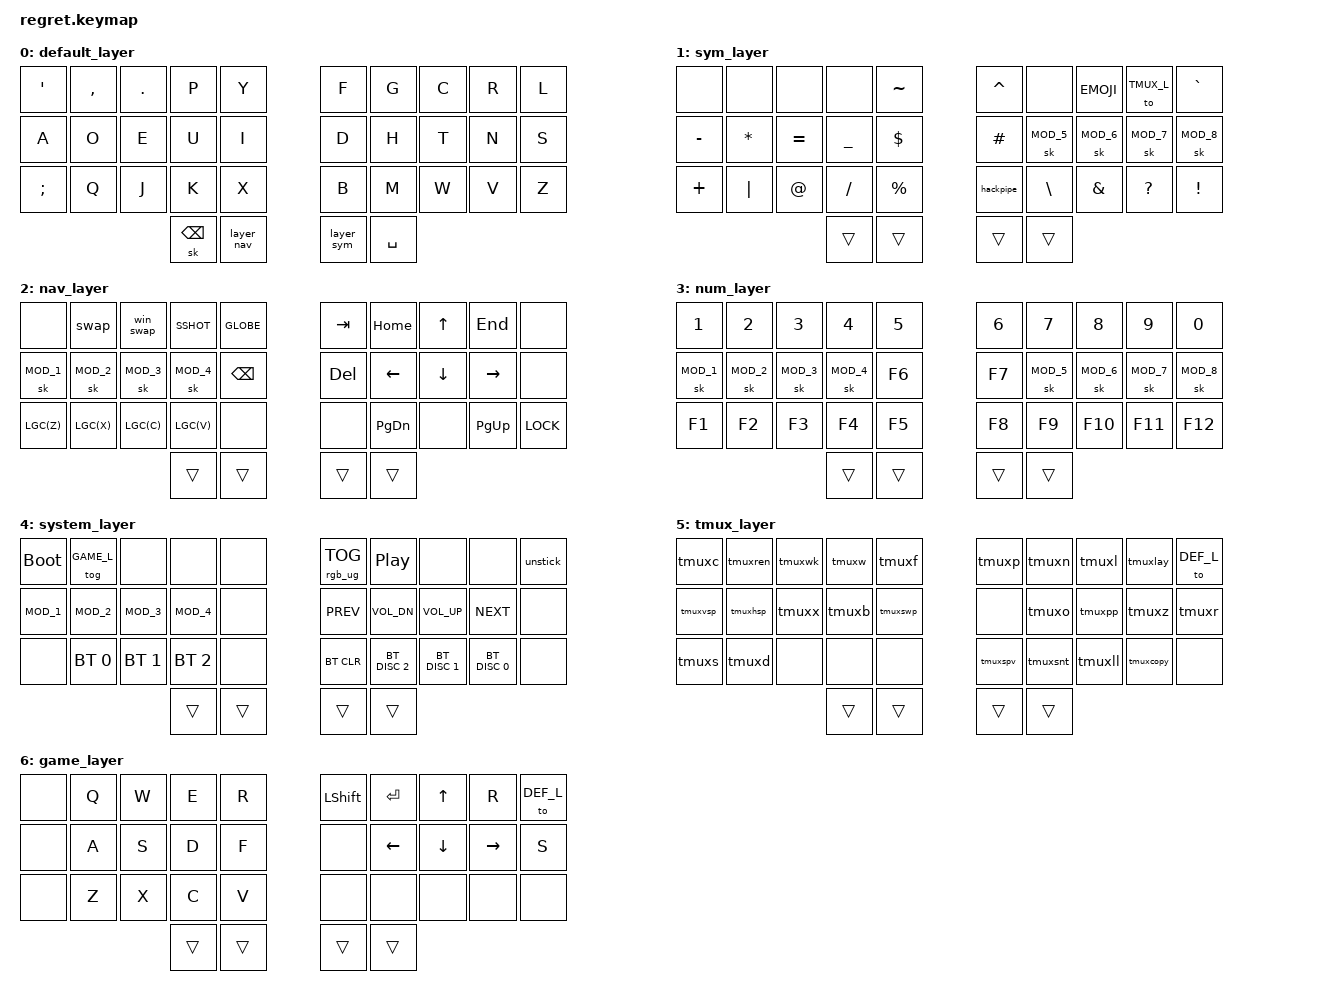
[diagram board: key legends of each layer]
// vim: set ts=4 sw=4 ft=devicetree:
// Re-gret keymap - platform-specific definitions

#ifdef CONFIG_SHIELD_REGRET_MAC
#include "regret-mac.keymap"
#elif CONFIG_SHIELD_REGRET_WINDOWS
#include "regret-windows.keymap"
#else
// Default to Mac if no platform specified
#include "regret-mac.keymap"
#endif

#include <behaviors.dtsi>
#include <dt-bindings/zmk/keys.h>
#include <dt-bindings/zmk/rgb.h>
#include <dt-bindings/zmk/bt.h>

#define KEYS_L 0 1 2 3 4 10 11 12 13 14 20 21 22 23 24
#define KEYS_R 5 6 7 8 9 15 16 17 18 19 25 26 27 28 29
#define KEYS_T 30 31  32 33

// Layer defines
#define DEF_L 0
#define SYM_L 1
#define NAV_L 2
#define NUM_L 3
#define SYS_L 4
#define TMUX_L 5
#define GAME_L 6

#define NON_SYS_LAYERS DEF_L SYM_L NAV_L NUM_L GAME_L TMUX_L

// Tmux prefix key - change this if you change your tmux prefix
#ifndef TMUX_PREFIX
#define TMUX_PREFIX GRAVE
#endif

// How long a key must be pressed to trigger Hold behavior
#define HRM_TERM 280
// If you press a tapped hold-tap again within quick-tap-ms milliseconds of the
// first press, it will always trigger the tap behavior
#define HRM_QUICK_TAP 175
// This effectively disables the hold-tap when typing quickly. As a rule of
// thumb, you want to set it to at least 10500/x where x is your (relaxed) WPM
#define HRM_IDLE (10500 / 50)
#define COMBO_IDLE HRM_IDLE

#define STICKY_KEY_TIMEOUT 1000

#define RED_H 340
#define RED_S 82
#define YELLOW_H 70
#define YELLOW_S 100
#define GREEN_H 160
#define GREEN_S 100
#define VIOLET_H 250
#define VIOLET_S 100

// Not-so-sticky key, see nk behavior def below
#define SK(KEY) &nk KEY KEY

&sk {// sticky-key config
	release-after-ms = <STICKY_KEY_TIMEOUT>;
	quick-release;
};



/ {
	behaviors {
		td_boot: double_tap_bootloader {
			compatible = "zmk,behavior-tap-dance";
			#binding-cells = <0>;
			tapping-term-ms = <200>;
			bindings = <&none>, <&bootloader>;
		};
		
		// alt tab equivalent
		swap: swapper {
			compatible = "zmk,behavior-tri-state";
			#binding-cells = <0>;
			bindings = <&kt LGorA>, <&kp TAB>, <&kt LGorA>;
			// 0 is Q, 32 is shift
			ignored-key-positions = <0 32>;
		};
		
		// swap windows between same app
		win_swap: win_swapper {
			compatible = "zmk,behavior-tri-state";
			#binding-cells = <0>;
			bindings = <&kt LGorA>, <&kp GRAVE>, <&kt LGorA>;
			// 0 is Q, 32 is shift
			ignored-key-positions = <0 32>;
		};
	};
	
	macros {
		layer_sym: layer_sym {
			label = "sym layer color";
			compatible = "zmk,behavior-macro";
			#binding-cells = <0>;
			wait-ms = <0>;
			tap-ms = <0>;
			bindings = <&macro_press &mo SYM_L>
			, <&macro_tap &rgb_ug RGB_COLOR_HSB(RED_H, 50, 100)>
			, <&macro_pause_for_release>
			, <&macro_release &mo SYM_L>
			, <&macro_tap &rgb_ug RGB_COLOR_HSB(GREEN_H, GREEN_S, 50)>
			;
		};
		
		layer_nav: layer_nav {
			label = "nav layer color";
			compatible = "zmk,behavior-macro";
			#binding-cells = <0>;
			wait-ms = <0>;
			tap-ms = <0>;
			bindings = <&macro_press &mo NAV_L>
			, <&macro_tap &rgb_ug RGB_COLOR_HSB(YELLOW_H, 25, 100)>
			, <&macro_pause_for_release>
			, <&macro_release &mo NAV_L>
			, <&macro_tap &rgb_ug RGB_COLOR_HSB(GREEN_H, GREEN_S, 50)>
			;
		};

		layer_tmux: layer_tmux {
			label = "tmux layer color";
			compatible = "zmk,behavior-macro";
			#binding-cells = <0>;
			wait-ms = <0>;
			tap-ms = <0>;
			bindings = <&macro_press &mo TMUX_L>
			, <&macro_tap &rgb_ug RGB_COLOR_HSB(180, 100, 100)>
			, <&macro_pause_for_release>
			, <&macro_release &mo TMUX_L>
			, <&macro_tap &rgb_ug RGB_COLOR_HSB(GREEN_H, GREEN_S, 50)>
			;
		};
		
		unstick: unstick {
			label = "ZM_unstick";
			compatible = "zmk,behavior-macro";
			#binding-cells = <0>;
			bindings = <&kp LSHIFT &kp RSHIFT &kp LCTRL &kp RCTRL &kp LALT &kp RALT &kp LGUI &kp RGUI>;
		};
		
		glo: glo {
			compatible = "zmk,behavior-macro-one-param";
			label = "globe pseudo mod func";
			#binding-cells = <1>;
			bindings = <&macro_press &kp GLOBE>
			, <&macro_param_1to1>
			, <&macro_tap &kp MACRO_PLACEHOLDER>
			, <&macro_release &kp GLOBE>
			;
		};
		
		// |>
		ZMK_MACRO(hackpipe, bindings = <&kp PIPE &kp GT &kp SPACE>;)

		// Tmux macros - send prefix + command (prefix defined by TMUX_PREFIX)
		ZMK_MACRO(tmux1,  bindings = <&kp TMUX_PREFIX &kp N1>;)
		ZMK_MACRO(tmux2,  bindings = <&kp TMUX_PREFIX &kp N2>;)
		ZMK_MACRO(tmux3,  bindings = <&kp TMUX_PREFIX &kp N3>;)
		ZMK_MACRO(tmux4,  bindings = <&kp TMUX_PREFIX &kp N4>;)
		ZMK_MACRO(tmux5,  bindings = <&kp TMUX_PREFIX &kp N5>;)
		ZMK_MACRO(tmux6,  bindings = <&kp TMUX_PREFIX &kp N6>;)
		ZMK_MACRO(tmux7,  bindings = <&kp TMUX_PREFIX &kp N7>;)
		ZMK_MACRO(tmux8,  bindings = <&kp TMUX_PREFIX &kp N8>;)
		ZMK_MACRO(tmux9,  bindings = <&kp TMUX_PREFIX &kp N9>;)
		ZMK_MACRO(tmux0,  bindings = <&kp TMUX_PREFIX &kp N0>;)
		ZMK_MACRO(tmuxc,  bindings = <&kp TMUX_PREFIX &kp C>;)       // new window
		ZMK_MACRO(tmuxn,  bindings = <&kp TMUX_PREFIX &kp N>;)       // next window
		ZMK_MACRO(tmuxp,  bindings = <&kp TMUX_PREFIX &kp P>;)       // prev window
		ZMK_MACRO(tmuxd,  bindings = <&kp TMUX_PREFIX &kp D>;)       // detach
		ZMK_MACRO(tmuxx,  bindings = <&kp TMUX_PREFIX &kp X>;)       // close pane
		ZMK_MACRO(tmuxz,  bindings = <&kp TMUX_PREFIX &kp Z>;)       // zoom pane
		ZMK_MACRO(tmuxo,  bindings = <&kp TMUX_PREFIX &kp O>;)       // cycle panes
		ZMK_MACRO(tmuxcopy, bindings = <&kp TMUX_PREFIX &kp LBKT>;) // copy mode
		ZMK_MACRO(tmuxlay, bindings = <&kp TMUX_PREFIX &kp SPACE>;)  // layout cycle
		ZMK_MACRO(tmuxh,  bindings = <&kp TMUX_PREFIX &kp H>;)       // pane left
		ZMK_MACRO(tmuxj,  bindings = <&kp TMUX_PREFIX &kp J>;)       // pane down
		ZMK_MACRO(tmuxk,  bindings = <&kp TMUX_PREFIX &kp K>;)       // pane up
		ZMK_MACRO(tmuxl,  bindings = <&kp TMUX_PREFIX &kp L>;)       // pane right / last window
		ZMK_MACRO(tmuxvsp, bindings = <&kp TMUX_PREFIX &kp PRCNT>;)  // split horizontal (side-by-side)
		ZMK_MACRO(tmuxhsp, bindings = <&kp TMUX_PREFIX &kp DQT>;)    // split vertical (top-bottom)
		ZMK_MACRO(tmuxb,  bindings = <&kp TMUX_PREFIX &kp B>;)       // break pane to new window
		ZMK_MACRO(tmuxr,  bindings = <&kp TMUX_PREFIX &kp R>;)       // resize mode
		ZMK_MACRO(tmuxren, bindings = <&kp TMUX_PREFIX &kp COMMA>;)  // rename window
		ZMK_MACRO(tmuxs,  bindings = <&kp TMUX_PREFIX &kp S>;)       // choose session (interactive)
		ZMK_MACRO(tmuxw,  bindings = <&kp TMUX_PREFIX &kp W>;)       // choose window (interactive)
		ZMK_MACRO(tmuxf,  bindings = <&kp TMUX_PREFIX &kp F>;)       // find window by name
		ZMK_MACRO(tmuxswp, bindings = <&kp TMUX_PREFIX &kp LS(O)>;)  // swap pane up
		ZMK_MACRO(tmuxwk,  bindings = <&kp TMUX_PREFIX &kp AMPS>;)  // kill window (&)
		ZMK_MACRO(tmuxpp,  bindings = <&kp TMUX_PREFIX &kp SEMI>;)  // prev pane (;)
		ZMK_MACRO(tmuxspv, bindings = <&kp TMUX_PREFIX &kp LPAR>;)  // prev session (()
		ZMK_MACRO(tmuxsnt, bindings = <&kp TMUX_PREFIX &kp RPAR>;)  // next session ())
		ZMK_MACRO(tmuxll,  bindings = <&kp TMUX_PREFIX &kp LS(L)>;) // last session (L)
	};
	
	combos {
		compatible = "zmk,combos";
		
	cw   { key-positions = <0 9>; bindings = <&caps_word>; layers = <DEF_L>; timeout-ms = <100>; };
		
	vlbkt { key-positions = <1 11>; bindings = <&kp LBKT>; layers = <NON_SYS_LAYERS>; require-prior-idle-ms = <COMBO_IDLE>; };
	vlbrc { key-positions = <2 12>; bindings = <&kp LBRC>; layers = <NON_SYS_LAYERS>; require-prior-idle-ms = <COMBO_IDLE>; };
	vlpar { key-positions = <3 13>; bindings = <&kp LPAR>; layers = <NON_SYS_LAYERS>; require-prior-idle-ms = <COMBO_IDLE>; };
	vrpar { key-positions = <6 16>; bindings = <&kp RPAR>; layers = <NON_SYS_LAYERS>; require-prior-idle-ms = <COMBO_IDLE>; };
	vrbrc { key-positions = <7 17>; bindings = <&kp RBRC>; layers = <NON_SYS_LAYERS>; require-prior-idle-ms = <COMBO_IDLE>; };
	vrbkt { key-positions = <8 18>; bindings = <&kp RBKT>; layers = <NON_SYS_LAYERS>; require-prior-idle-ms = <COMBO_IDLE>; };
		
	lshftc { key-positions = <2 3>; bindings = <&sk LSHFT>; layers = <NON_SYS_LAYERS>; require-prior-idle-ms = <COMBO_IDLE>; };
	rshftc { key-positions = <6 7>; bindings = <&sk RSHFT>; layers = <NON_SYS_LAYERS>; require-prior-idle-ms = <COMBO_IDLE>; };
		
	caps { key-positions = <20 29>; bindings = <&kp CAPSLOCK>; layers = <DEF_L>; timeout-ms = <100>; };
		
	esc  { key-positions = <11 12 13>; bindings = <&kp ESC>; layers = <DEF_L>; };
	ret  { key-positions = <16 17 18>; bindings = <&kp RET>; layers = <DEF_L>; };
		
	sall { key-positions = <21 22>; bindings = <&kp LGC(A)>; layers = <NAV_L>; };
		
		/* Activate tmux layer on left thumb chord */
		tmux { key-positions = <30 31>; bindings = <&layer_tmux>; require-prior-idle-ms = <COMBO_IDLE>; };

		/* Activate system layer on inner thumb press */
		sys {
			key-positions = <30 33>;
			bindings = <&mo SYS_L>;
			require-prior-idle-ms = <COMBO_IDLE>;
		};
	};
	
	conditional_layers {
		compatible = "zmk,conditional-layers";
		tri_layer {
			if-layers = <SYM_L NAV_L>;
			then-layer = <NUM_L>;
		};
	};
	
	keymap {
		compatible = "zmk,keymap";
		
		default_layer {
			bindings = <
			&kp SQT   &kp COMMA &kp DOT  &kp P    &kp Y   &kp F   &kp G   &kp C   &kp R   &kp L
			&kp A     &kp O     &kp E    &kp U    &kp I   &kp D   &kp H   &kp T   &kp N   &kp S
			&kp SEMI  &kp Q     &kp J    &kp K    &kp X   &kp B   &kp M   &kp W   &kp V   &kp Z
			&sk BSPC  &layer_nav &layer_sym &kp SPACE
			>;
		};
		
		// R inner held
		sym_layer {
			bindings = <
			&none     &none     &none     &none     &kp TILDE &kp CARET &none     &kp EMOJI &to TMUX_L &kp GRAVE
			&kp MINUS &kp STAR  &kp EQUAL &kp UNDER &kp DLLR  &kp HASH  &sk MOD_5 &sk MOD_6 &sk MOD_7 &sk MOD_8
			&kp PLUS  &kp PIPE  &kp AT    &kp FSLH  &kp PRCNT &hackpipe &kp BSLH  &kp AMPS  &kp QMARK &kp EXCL

			// default layer
			&trans    &trans    &trans    &trans
			>;
		};
		
		// L inner held
		nav_layer {
			bindings = <
			&none      &swap     &win_swap   &kp SSHOT  &kp GLOBE &kp TAB    &kp HOME  &kp UP   &kp END   &none
			&sk MOD_1  &sk MOD_2 &sk MOD_3   &sk MOD_4  &kp BSPC  &kp DELETE &kp LEFT  &kp DOWN &kp RIGHT &none
			&kp LGC(Z) &kp LGC(X) &kp LGC(C) &kp LGC(V) &none     &none      &kp PG_DN &none    &kp PG_UP &kp LOCK
			
			// default layer
			&trans    &trans    &trans    &trans
			>;
		};
		
		// L+R inner held
		num_layer {
			bindings = <
			&kp N1    &kp N2    &kp N3    &kp N4    &kp N5  &kp N6  &kp N7    &kp N8    &kp N9    &kp N0
			&sk MOD_1 &sk MOD_2 &sk MOD_3 &sk MOD_4 &kp F6  &kp F7  &sk MOD_5 &sk MOD_6 &sk MOD_7 &sk MOD_8
			&kp F1    &kp F2    &kp F3    &kp F4    &kp F5  &kp F8  &kp F9    &kp F10   &kp F11   &kp F12
			
			// default layer
			&trans    &trans  &trans   &trans
			>;
		};
		
		// L+R outer held
		system_layer {
			bindings = <
			&bootloader &tog GAME_L  &none        &none        &none &rgb_ug RGB_TOG &kp C_PP      &none         &none         &unstick
			&kp MOD_1   &kp MOD_2    &kp MOD_3    &kp MOD_4    &none &kp C_PREV      &kp C_VOL_DN  &kp C_VOL_UP  &kp C_NEXT    &none
			&none       &bt BT_SEL 0 &bt BT_SEL 1 &bt BT_SEL 2 &none &bt BT_CLR      &bt BT_DISC 2 &bt BT_DISC 1 &bt BT_DISC 0 &none
			
			// default layer
			&trans      &trans      &trans    &trans
			>;
		};
		
		// Tmux Layer - Grid Layout
		// ========================
		// A dedicated layer for tmux commands, organized as a 2D grid so you
		// can build commands by "row = what object, column = what action"
		// without memorizing tmux's scattered default keybindings.
		//
		// ROWS (tmux objects):
		//   Top    = Windows
		//   Middle = Panes
		//   Bottom = Sessions
		//
		// LEFT HAND COLUMNS (mutating actions):
		//   Col 1 = Create (new, vsplit, browse)
		//   Col 2 = Modify (rename, hsplit, detach)
		//   Col 3 = Kill/Destroy
		//   Col 4 = Browse/Pick (interactive chooser)
		//   Col 5 = Find/Transform (search, swap)
		//
		// RIGHT HAND COLUMNS (navigation):
		//   Col 1 = Previous (in order)
		//   Col 2 = Next (in order)
		//   Col 3 = Last (most recently used, like alt-tab)
		//   Col 4 = Utility (layout toggle, zoom, scroll/copy)
		//   Col 5 = Exit layer / extra utility
		//
		// Pane R1 is empty because tmux has no "previous pane in order"
		// — only next (prefix+o) and last (prefix+;).
		tmux_layer {
			bindings = <
			// Windows: new, rename, kill, browse, find | prev, next, last, layout, exit
			&tmuxc     &tmuxren   &tmuxwk    &tmuxw     &tmuxf      &tmuxp      &tmuxn      &tmuxl      &tmuxlay    &to DEF_L

			// Panes: vsplit, hsplit, kill, break, swap | -, next, last, zoom, resize
			&tmuxvsp   &tmuxhsp   &tmuxx     &tmuxb     &tmuxswp    &none       &tmuxo      &tmuxpp     &tmuxz      &tmuxr

			// Sessions: browse, detach, -, -, - | prev, next, last, scroll/copy, -
			&tmuxs     &tmuxd     &none      &none      &none       &tmuxspv    &tmuxsnt    &tmuxll     &tmuxcopy   &none

			// Thumb keys
			&trans     &trans     &trans     &trans
			>;
		};

		// L+R outer -> toggle (top right to exit)
		game_layer {
			bindings = <
			&none   &kp Q   &kp W  &kp E  &kp R   &kp LSHFT &kp ENTER &kp UP   &kp R     &to DEF_L
			&none   &kp A   &kp S  &kp D  &kp F   &none     &kp LEFT  &kp DOWN &kp RIGHT &kp S
			&none   &kp Z   &kp X  &kp C  &kp V   &none     &none     &none    &none     &none

			// default layer
			&trans  &trans  &trans &trans
			>;
		};
		
	};
};
